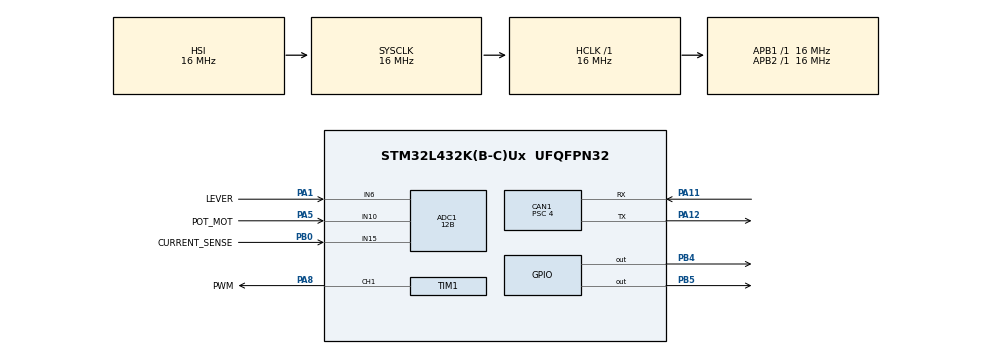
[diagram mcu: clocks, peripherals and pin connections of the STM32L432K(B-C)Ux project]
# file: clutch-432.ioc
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ADC1.Channel-0\#ChannelRegularConversion=ADC_CHANNEL_6
ADC1.Channel-1\#ChannelRegularConversion=ADC_CHANNEL_10
ADC1.Channel-2\#ChannelRegularConversion=ADC_CHANNEL_15
ADC1.ClockPrescaler=ADC_CLOCK_ASYNC_DIV16
ADC1.ContinuousConvMode=ENABLE
ADC1.DMAContinuousRequests=ENABLE
ADC1.DiscontinuousConvMode=DISABLE
ADC1.NbrOfConversion=3
ADC1.NbrOfConversionFlag=1
ADC1.OffsetNumber-0\#ChannelRegularConversion=ADC_OFFSET_NONE
ADC1.OffsetNumber-1\#ChannelRegularConversion=ADC_OFFSET_NONE
ADC1.OffsetNumber-2\#ChannelRegularConversion=ADC_OFFSET_NONE
ADC1.Rank-0\#ChannelRegularConversion=1
ADC1.Rank-1\#ChannelRegularConversion=2
ADC1.Rank-2\#ChannelRegularConversion=3
ADC1.Resolution=ADC_RESOLUTION_12B
ADC1.SamplingTime-0\#ChannelRegularConversion=ADC_SAMPLETIME_92CYCLES_5
ADC1.SamplingTime-1\#ChannelRegularConversion=ADC_SAMPLETIME_92CYCLES_5
ADC1.SamplingTime-2\#ChannelRegularConversion=ADC_SAMPLETIME_92CYCLES_5
ADC1.master=1
CAN1.BS1=CAN_BS1_2TQ
CAN1.CalculateBaudRate=1000000
CAN1.CalculateTimeBit=1000
CAN1.CalculateTimeQuantum=250.0
CAN1.Prescaler=4
Dma.ADC1.0.Direction=DMA_PERIPH_TO_MEMORY
Dma.ADC1.0.Instance=DMA1_Channel1
Dma.ADC1.0.MemDataAlignment=DMA_MDATAALIGN_HALFWORD
Dma.ADC1.0.MemInc=DMA_MINC_ENABLE
Dma.ADC1.0.Mode=DMA_CIRCULAR
Dma.ADC1.0.PeriphDataAlignment=DMA_PDATAALIGN_HALFWORD
Dma.ADC1.0.PeriphInc=DMA_PINC_DISABLE
Dma.ADC1.0.Priority=DMA_PRIORITY_LOW
Dma.Request0=ADC1
Mcu.Family=STM32L4
Mcu.Name=STM32L432K(B-C)Ux
Mcu.Package=UFQFPN32
NVIC.DMA1_Channel1_IRQn=true\:0\:0\:false\:false\:true\:false\:true\:true
NVIC.PriorityGroup=NVIC_PRIORITYGROUP_4
NVIC.TIM1_BRK_TIM15_IRQn=true\:0\:0\:false\:false\:true\:true\:true\:true
NVIC.TIM1_UP_TIM16_IRQn=true\:0\:0\:false\:false\:true\:true\:true\:true
NVIC.TIM7_IRQn=true\:0\:0\:false\:false\:true\:true\:true\:true
PA0.Mode=HSE-External-Clock-Source-for-LittleOrca
PA0.Signal=RCC_CK_IN
PA1.GPIO_Label=LEVER
PA1.Signal=ADCx_IN6
PA11.Mode=CAN_Activate
PA11.Signal=CAN1_RX
PA12.Mode=CAN_Activate
PA12.Signal=CAN1_TX
PA5.GPIO_Label=POT_MOT
PA5.Signal=ADCx_IN10
PA8.GPIO_Label=PWM
PA8.Signal=S_TIM1_CH1
PB0.GPIO_Label=CURRENT_SENSE
PB0.Signal=ADCx_IN15
PB4\ (NJTRST).Signal=GPIO_Output
PB5.Signal=GPIO_Output
ProjectManager.HeapSize=0x200
ProjectManager.StackSize=0x400
ProjectManager.TargetToolchain=STM32CubeIDE
RCC.ADCFreq_Value=32000000
RCC.AHBFreq_Value=16000000
RCC.APB1Freq_Value=16000000
RCC.APB1TimFreq_Value=16000000
RCC.APB2Freq_Value=16000000
RCC.APB2TimFreq_Value=16000000
RCC.CortexFreq_Value=16000000
RCC.HCLKFreq_Value=16000000
RCC.HSE_VALUE=8000000
RCC.HSI48_VALUE=48000000
RCC.HSI_VALUE=16000000
RCC.LSE_VALUE=32768
RCC.MSI_VALUE=4000000
RCC.PLLSAI1N=16
RCC.PLLSAI1R=RCC_PLLR_DIV8
RCC.PLLSourceVirtual=RCC_PLLSOURCE_HSI
RCC.SYSCLKFreq_VALUE=16000000
RCC.SYSCLKSource=RCC_SYSCLKSOURCE_HSI
RCC.USBFreq_Value=128000000
RCC.VCOOutputFreq_Value=128000000
SH.ADCx_IN10.0=ADC1_IN10,IN10-Single-Ended
SH.ADCx_IN15.0=ADC1_IN15,IN15-Single-Ended
SH.ADCx_IN6.0=ADC1_IN6,IN6-Single-Ended
SH.S_TIM1_CH1.0=TIM1_CH1,PWM Generation1 CH1
TIM1.Channel-PWM\ Generation1\ CH1=TIM_CHANNEL_1
TIM1.Period=100-1
TIM1.Prescaler=20-1
TIM1.Pulse-PWM\ Generation1\ CH1=50
TIM7.Period=10 - 1
TIM7.Prescaler=100 - 1
VP_TIM1_VS_ClockSourceINT.Mode=Internal
VP_TIM7_VS_ClockSourceINT.Mode=Enable_Timer
board=custom

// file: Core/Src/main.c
/* USER CODE BEGIN Header */
/**
  ******************************************************************************
  * @file           : main.c
  * @brief          : Main program body
  ******************************************************************************
  * @attention
  *
  * Copyright (c) 2022 STMicroelectronics.
  * All rights reserved.
  *
  * This software is licensed under terms that can be found in the LICENSE file
  * in the root directory of this software component.
  * If no LICENSE file comes with this software, it is provided AS-IS.
  *
  ******************************************************************************
  */
/* USER CODE END Header */
#include "main.h"

/* USER CODE BEGIN Includes */
#include <stdbool.h>
//#include "mmr_can.h"
/* USER CODE END Includes */

/* USER CODE BEGIN PD */
#define POT 1
#define LEVER 0
#define CURRENT 2

/* USER CODE END PD */

 ADC_HandleTypeDef hadc1;
DMA_HandleTypeDef hdma_adc1;

CAN_HandleTypeDef hcan1;

TIM_HandleTypeDef htim1;
TIM_HandleTypeDef htim7;

void SystemClock_Config(void);
static void MX_GPIO_Init(void);
static void MX_DMA_Init(void);
static void MX_ADC1_Init(void);
static void MX_TIM1_Init(void);
static void MX_TIM7_Init(void);
static void MX_CAN1_Init(void);

/* USER CODE BEGIN 0 */
float lever;
float potMot;
float current;
float errorPos;
int delay;
int tick;

bool engage = false;
DrivingMode mode = MANUAL;
//PID POSIZIONE
const PIDSaturation saturations1 = {
		min: -3.75f,
		max: 3.75f,
};

const PIDParameters parameters1 = {
	p: 7.53f * 6.0f,
	i: 8.6f * 2.0f,
	d: 1.4f * 0.5f,
};

PID pid1;

const PIDSaturation saturations2 = {
		min: 0.4f,
		max: 0.6f,
};

const PIDParameters parameters2 = {
	p: 0.052f,
	i: (0.052 * 6000.0f) / 5.88f,
	d: 0.0f,
};

PID pid2;

const float sampleTime = 1.0f / 16000.0f;
const float tau = 1.0f/14565.0f;

//CLUTCH
const ClutchIndexes indexes = {
	motorPotentiometer: POT,
	lever: LEVER,
	current: CURRENT,
};

Clutch clutch;
int s;
// ADC arrays
AdcValue ADC_values[BUFFER_LENGTH];
/* USER CODE END 0 */

int main(void)
{
  /* USER CODE BEGIN 1 */
	lever = 0;
	potMot = 0;
	errorPos = 0;
	tick = 0;
  /* USER CODE END 1 */

  /* MCU Configuration--------------------------------------------------------*/

  /* Reset of all peripherals, Initializes the Flash interface and the Systick. */
  HAL_Init();

  /* Configure the system clock */
  SystemClock_Config();

  /* Initialize all configured peripherals */
  MX_GPIO_Init();
  MX_DMA_Init();
  MX_ADC1_Init();
  MX_TIM1_Init();
  MX_TIM7_Init();
  MX_CAN1_Init();
  /* USER CODE BEGIN 2 */

  /*if (MMR_CAN_BasicSetupAndStart(&hcan1) != HAL_OK) {
    Error_Handler();
  }*/

  pid1 = PIDInit(
	  saturations1,
	  parameters1,
	  sampleTime,
	  tau
  );

  pid2 = PIDInit(
	  saturations2,
	  parameters2,
	  sampleTime,
	  tau
  );

  ClutchPID clutchPID = {
	  pid1: &pid1,
	  pid2: &pid2,
  };

  clutch = clutchInit(indexes, clutchPID, ADC_values);
  setDrivingMode(&clutch, mode);

  HAL_ADC_Start_DMA(&hadc1, (uint16_t *)ADC_values, BUFFER_LENGTH);

  HAL_TIM_Base_Start(&htim1); // TIM1 Start
  HAL_TIM_PWM_Start(&htim1, TIM_CHANNEL_1); // PWM Start on TIM1
  HAL_TIM_Base_Start_IT(&htim7); // PID Sampling timer start

  /*
  CanRxBuffer buffer = {};
  MmrCanMessage message = {
		  .store = buffer
  };*/
  uint32_t start = uwTick;

  //HAL_GPIO_WritePin(GPIOB, GPIO_PIN_1, GPIO_PIN_SET);
  /* USER CODE END 2 */

  /* Infinite loop */
  /* USER CODE BEGIN WHILE */
  while (1)
  {
	  /*uint8_t pendingMessages = HAL_CAN_GetRxFifoFillLevel(&hcan1, MMR_CAN_RX_FIFO);
	  if (pendingMessages <= 0) {
		  continue;
	  }
	  if (MMR_CAN_Receive(&hcan1, &message) != HAL_OK) {
		  ;
	  }
	  volatile int id = message.header.messageId;
	  continue;*/
    /* USER CODE END WHILE */

    /* USER CODE BEGIN 3 */

/*

	  MmrCanPacket packetOpenClutch = {
			  .header.messageId = MMR_CAN_MESSAGE_ID_CS_CLUTCH_PULL_OK,
	  };

	  MmrCanPacket packetEngagedClutch = {
			  .header.messageId = MMR_CAN_MESSAGE_ID_CS_CLUTCH_RELEASE_OK,
	  };

	  //AUTONOMOUS

	  if(clutch.measuredAngle < OPEN_CLUTCH_ANGLE + 0.1f && clutch.inProgress && !engage) {
		  if(clutch.mode == AUTONOMOUS) {
			  MMR_CAN_Send(&hcan1, packetOpenClutch);
			  clutch.inProgress = false;
		  }
	  }

	  if(clutch.measuredAngle > ENGAGED_CLUTCH_ANGLE - 0.25f && clutch.inProgress && engage) {
		  if(clutch.mode == AUTONOMOUS) {
			  MMR_CAN_Send(&hcan1, packetEngagedClutch);
			  clutch.inProgress = false;
		  }
	  }

	  //MANUAL

	  if(clutch.measuredAngle < OPEN_CLUTCH_ANGLE + 0.1f && uwTick - start >= 100) {
		  start = uwTick;
		  if(clutch.mode == MANUAL) {
			  MMR_CAN_Send(&hcan1, packetOpenClutch);
		  }
	  }

	  if(clutch.measuredAngle > ENGAGED_CLUTCH_ANGLE - 0.25f && uwTick - start >= 100) {
		  start = uwTick;
		  if(clutch.mode == MANUAL) {
			  MMR_CAN_Send(&hcan1, packetEngagedClutch);
		  }
	  }

	  uint32_t messages = HAL_CAN_GetRxFifoFillLevel(&hcan1, MMR_CAN_RX_FIFO);

	  if(messages > 0) {
		  if(MMR_CAN_Receive(&hcan1, &message) != HAL_OK) {
			  Error_Handler();
		  }

		  switch(message.header.messageId) {
		  	  case MMR_CAN_MESSAGE_ID_CS_CLUTCH_PULL:
				  setDrivingMode(&clutch, AUTONOMOUS);
				  engage = false;
				  clutch.inProgress = true;
		  		  break;

		  	  case MMR_CAN_MESSAGE_ID_CS_CLUTCH_RELEASE:
				  setDrivingMode(&clutch, AUTONOMOUS);
				  engage = true;
				  clutch.inProgress = true;
		  		  break;

		  	  case MMR_CAN_MESSAGE_ID_CS_CLUTCH_SET_MANUAL:
				  setDrivingMode(&clutch, MANUAL);
				  clutch.inProgress = false;
		  		  break;
		  }

	  }*/

	  potMot = clutch.measuredAngle;
	  lever = clutch.targetAngle;
	  current = clutch.current;
  }
  /* USER CODE END 3 */
}

void SystemClock_Config(void)
{
  RCC_OscInitTypeDef RCC_OscInitStruct = {0};
  RCC_ClkInitTypeDef RCC_ClkInitStruct = {0};

  /** Configure the main internal regulator output voltage
  */
  if (HAL_PWREx_ControlVoltageScaling(PWR_REGULATOR_VOLTAGE_SCALE1) != HAL_OK)
  {
    Error_Handler();
  }

  /** Initializes the RCC Oscillators according to the specified parameters
  * in the RCC_OscInitTypeDef structure.
  */
  RCC_OscInitStruct.OscillatorType = RCC_OSCILLATORTYPE_HSI;
  RCC_OscInitStruct.HSIState = RCC_HSI_ON;
  RCC_OscInitStruct.HSICalibrationValue = RCC_HSICALIBRATION_DEFAULT;
  RCC_OscInitStruct.PLL.PLLState = RCC_PLL_NONE;
  if (HAL_RCC_OscConfig(&RCC_OscInitStruct) != HAL_OK)
  {
    Error_Handler();
  }

  /** Initializes the CPU, AHB and APB buses clocks
  */
  RCC_ClkInitStruct.ClockType = RCC_CLOCKTYPE_HCLK|RCC_CLOCKTYPE_SYSCLK
                              |RCC_CLOCKTYPE_PCLK1|RCC_CLOCKTYPE_PCLK2;
  RCC_ClkInitStruct.SYSCLKSource = RCC_SYSCLKSOURCE_HSI;
  RCC_ClkInitStruct.AHBCLKDivider = RCC_SYSCLK_DIV1;
  RCC_ClkInitStruct.APB1CLKDivider = RCC_HCLK_DIV1;
  RCC_ClkInitStruct.APB2CLKDivider = RCC_HCLK_DIV1;

  if (HAL_RCC_ClockConfig(&RCC_ClkInitStruct, FLASH_LATENCY_0) != HAL_OK)
  {
    Error_Handler();
  }
}

static void MX_ADC1_Init(void)
{

  ADC_ChannelConfTypeDef sConfig = {0};

  /** Common config
  */
  hadc1.Instance = ADC1;
  hadc1.Init.ClockPrescaler = ADC_CLOCK_ASYNC_DIV16;
  hadc1.Init.Resolution = ADC_RESOLUTION_12B;
  hadc1.Init.DataAlign = ADC_DATAALIGN_RIGHT;
  hadc1.Init.ScanConvMode = ADC_SCAN_ENABLE;
  hadc1.Init.EOCSelection = ADC_EOC_SINGLE_CONV;
  hadc1.Init.LowPowerAutoWait = DISABLE;
  hadc1.Init.ContinuousConvMode = ENABLE;
  hadc1.Init.NbrOfConversion = 3;
  hadc1.Init.DiscontinuousConvMode = DISABLE;
  hadc1.Init.ExternalTrigConv = ADC_SOFTWARE_START;
  hadc1.Init.ExternalTrigConvEdge = ADC_EXTERNALTRIGCONVEDGE_NONE;
  hadc1.Init.DMAContinuousRequests = ENABLE;
  hadc1.Init.Overrun = ADC_OVR_DATA_PRESERVED;
  hadc1.Init.OversamplingMode = DISABLE;
  if (HAL_ADC_Init(&hadc1) != HAL_OK)
  {
    Error_Handler();
  }

  /** Configure Regular Channel
  */
  sConfig.Channel = ADC_CHANNEL_6;
  sConfig.Rank = ADC_REGULAR_RANK_1;
  sConfig.SamplingTime = ADC_SAMPLETIME_92CYCLES_5;
  sConfig.SingleDiff = ADC_SINGLE_ENDED;
  sConfig.OffsetNumber = ADC_OFFSET_NONE;
  sConfig.Offset = 0;
  if (HAL_ADC_ConfigChannel(&hadc1, &sConfig) != HAL_OK)
  {
    Error_Handler();
  }

  /** Configure Regular Channel
  */
  sConfig.Channel = ADC_CHANNEL_10;
  sConfig.Rank = ADC_REGULAR_RANK_2;
  if (HAL_ADC_ConfigChannel(&hadc1, &sConfig) != HAL_OK)
  {
    Error_Handler();
  }

  /** Configure Regular Channel
  */
  sConfig.Channel = ADC_CHANNEL_15;
  sConfig.Rank = ADC_REGULAR_RANK_3;
  if (HAL_ADC_ConfigChannel(&hadc1, &sConfig) != HAL_OK)
  {
    Error_Handler();
  }

}

static void MX_CAN1_Init(void)
{

  hcan1.Instance = CAN1;
  hcan1.Init.Prescaler = 4;
  hcan1.Init.Mode = CAN_MODE_NORMAL;
  hcan1.Init.SyncJumpWidth = CAN_SJW_1TQ;
  hcan1.Init.TimeSeg1 = CAN_BS1_2TQ;
  hcan1.Init.TimeSeg2 = CAN_BS2_1TQ;
  hcan1.Init.TimeTriggeredMode = DISABLE;
  hcan1.Init.AutoBusOff = DISABLE;
  hcan1.Init.AutoWakeUp = DISABLE;
  hcan1.Init.AutoRetransmission = DISABLE;
  hcan1.Init.ReceiveFifoLocked = DISABLE;
  hcan1.Init.TransmitFifoPriority = DISABLE;
  if (HAL_CAN_Init(&hcan1) != HAL_OK)
  {
    Error_Handler();
  }

}

static void MX_TIM1_Init(void)
{

  TIM_ClockConfigTypeDef sClockSourceConfig = {0};
  TIM_MasterConfigTypeDef sMasterConfig = {0};
  TIM_OC_InitTypeDef sConfigOC = {0};
  TIM_BreakDeadTimeConfigTypeDef sBreakDeadTimeConfig = {0};

  htim1.Instance = TIM1;
  htim1.Init.Prescaler = 20-1;
  htim1.Init.CounterMode = TIM_COUNTERMODE_UP;
  htim1.Init.Period = 100-1;
  htim1.Init.ClockDivision = TIM_CLOCKDIVISION_DIV1;
  htim1.Init.RepetitionCounter = 0;
  htim1.Init.AutoReloadPreload = TIM_AUTORELOAD_PRELOAD_DISABLE;
  if (HAL_TIM_Base_Init(&htim1) != HAL_OK)
  {
    Error_Handler();
  }
  sClockSourceConfig.ClockSource = TIM_CLOCKSOURCE_INTERNAL;
  if (HAL_TIM_ConfigClockSource(&htim1, &sClockSourceConfig) != HAL_OK)
  {
    Error_Handler();
  }
  if (HAL_TIM_PWM_Init(&htim1) != HAL_OK)
  {
    Error_Handler();
  }
  sMasterConfig.MasterOutputTrigger = TIM_TRGO_RESET;
  sMasterConfig.MasterOutputTrigger2 = TIM_TRGO2_RESET;
  sMasterConfig.MasterSlaveMode = TIM_MASTERSLAVEMODE_DISABLE;
  if (HAL_TIMEx_MasterConfigSynchronization(&htim1, &sMasterConfig) != HAL_OK)
  {
    Error_Handler();
  }
  sConfigOC.OCMode = TIM_OCMODE_PWM1;
  sConfigOC.Pulse = 50;
  sConfigOC.OCPolarity = TIM_OCPOLARITY_HIGH;
  sConfigOC.OCNPolarity = TIM_OCNPOLARITY_HIGH;
  sConfigOC.OCFastMode = TIM_OCFAST_DISABLE;
  sConfigOC.OCIdleState = TIM_OCIDLESTATE_RESET;
  sConfigOC.OCNIdleState = TIM_OCNIDLESTATE_RESET;
  if (HAL_TIM_PWM_ConfigChannel(&htim1, &sConfigOC, TIM_CHANNEL_1) != HAL_OK)
  {
    Error_Handler();
  }
  sBreakDeadTimeConfig.OffStateRunMode = TIM_OSSR_DISABLE;
  sBreakDeadTimeConfig.OffStateIDLEMode = TIM_OSSI_DISABLE;
  sBreakDeadTimeConfig.LockLevel = TIM_LOCKLEVEL_OFF;
  sBreakDeadTimeConfig.DeadTime = 0;
  sBreakDeadTimeConfig.BreakState = TIM_BREAK_DISABLE;
  sBreakDeadTimeConfig.BreakPolarity = TIM_BREAKPOLARITY_HIGH;
  sBreakDeadTimeConfig.BreakFilter = 0;
  sBreakDeadTimeConfig.Break2State = TIM_BREAK2_DISABLE;
  sBreakDeadTimeConfig.Break2Polarity = TIM_BREAK2POLARITY_HIGH;
  sBreakDeadTimeConfig.Break2Filter = 0;
  sBreakDeadTimeConfig.AutomaticOutput = TIM_AUTOMATICOUTPUT_DISABLE;
  if (HAL_TIMEx_ConfigBreakDeadTime(&htim1, &sBreakDeadTimeConfig) != HAL_OK)
  {
    Error_Handler();
  }
  HAL_TIM_MspPostInit(&htim1);

}

static void MX_TIM7_Init(void)
{

  TIM_MasterConfigTypeDef sMasterConfig = {0};

  htim7.Instance = TIM7;
  htim7.Init.Prescaler = 100 - 1;
  htim7.Init.CounterMode = TIM_COUNTERMODE_UP;
  htim7.Init.Period = 10 - 1;
  htim7.Init.AutoReloadPreload = TIM_AUTORELOAD_PRELOAD_DISABLE;
  if (HAL_TIM_Base_Init(&htim7) != HAL_OK)
  {
    Error_Handler();
  }
  sMasterConfig.MasterOutputTrigger = TIM_TRGO_RESET;
  sMasterConfig.MasterSlaveMode = TIM_MASTERSLAVEMODE_DISABLE;
  if (HAL_TIMEx_MasterConfigSynchronization(&htim7, &sMasterConfig) != HAL_OK)
  {
    Error_Handler();
  }

}

static void MX_DMA_Init(void)
{

  /* DMA controller clock enable */
  __HAL_RCC_DMA1_CLK_ENABLE();

  /* DMA interrupt init */
  /* DMA1_Channel1_IRQn interrupt configuration */
  HAL_NVIC_SetPriority(DMA1_Channel1_IRQn, 0, 0);
  HAL_NVIC_EnableIRQ(DMA1_Channel1_IRQn);

}

static void MX_GPIO_Init(void)
{
  GPIO_InitTypeDef GPIO_InitStruct = {0};

  /* GPIO Ports Clock Enable */
  __HAL_RCC_GPIOA_CLK_ENABLE();
  __HAL_RCC_GPIOB_CLK_ENABLE();

  /*Configure GPIO pin Output Level */
  HAL_GPIO_WritePin(GPIOB, GPIO_PIN_4|GPIO_PIN_5, GPIO_PIN_RESET);

  /*Configure GPIO pins : PB4 PB5 */
  GPIO_InitStruct.Pin = GPIO_PIN_4|GPIO_PIN_5;
  GPIO_InitStruct.Mode = GPIO_MODE_OUTPUT_PP;
  GPIO_InitStruct.Pull = GPIO_NOPULL;
  GPIO_InitStruct.Speed = GPIO_SPEED_FREQ_LOW;
  HAL_GPIO_Init(GPIOB, &GPIO_InitStruct);

}

void Error_Handler(void)
{
  __disable_irq();
  while (1)
  {
  }
}
